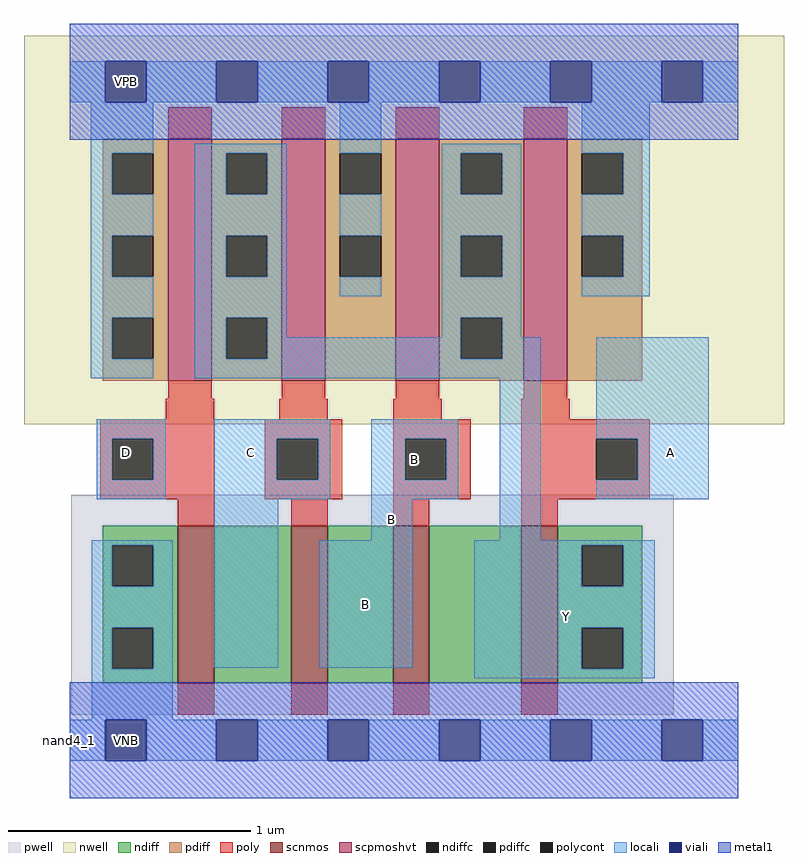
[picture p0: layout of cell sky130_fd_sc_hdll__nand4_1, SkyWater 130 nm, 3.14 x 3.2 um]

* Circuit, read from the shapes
.subckt sky130_fd_sc_hdll__nand4_1 A B C D VGND VNB VPB VPWR Y
XM1 n1 D VGND VNB sky130_fd_pr__nfet_01v8 w=0.65 l=0.15
XM2 n2 C n1 VNB sky130_fd_pr__nfet_01v8 w=0.65 l=0.15
XM3 n3 B n2 VNB sky130_fd_pr__nfet_01v8 w=0.65 l=0.15
XM4 Y A n3 VNB sky130_fd_pr__nfet_01v8 w=0.65 l=0.15
XM5 Y D VPWR VPB sky130_fd_pr__pfet_01v8_hvt w=1 l=0.18
XM6 VPWR C Y VPB sky130_fd_pr__pfet_01v8_hvt w=1 l=0.18
XM7 Y B VPWR VPB sky130_fd_pr__pfet_01v8_hvt w=1 l=0.18
XM8 VPWR A Y VPB sky130_fd_pr__pfet_01v8_hvt w=1 l=0.18
.ends

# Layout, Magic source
magic
tech sky130A
magscale 1 2
<< nwell >>
rect -38 261 590 582
<< pwell >>
rect 1 21 499 203
rect 30 -17 64 21
<< scnmos >>
rect 89 47 119 177
rect 183 47 213 177
rect 267 47 297 177
rect 373 47 403 177
<< scpmoshvt >>
rect 81 297 117 497
rect 175 297 211 497
rect 269 297 305 497
rect 375 297 411 497
<< ndiff >>
rect 27 161 89 177
rect 27 127 35 161
rect 69 127 89 161
rect 27 93 89 127
rect 27 59 35 93
rect 69 59 89 93
rect 27 47 89 59
rect 119 47 183 177
rect 213 47 267 177
rect 297 47 373 177
rect 403 161 473 177
rect 403 127 423 161
rect 457 127 473 161
rect 403 93 473 127
rect 403 59 423 93
rect 457 59 473 93
rect 403 47 473 59
<< pdiff >>
rect 27 485 81 497
rect 27 451 35 485
rect 69 451 81 485
rect 27 417 81 451
rect 27 383 35 417
rect 69 383 81 417
rect 27 349 81 383
rect 27 315 35 349
rect 69 315 81 349
rect 27 297 81 315
rect 117 485 175 497
rect 117 451 129 485
rect 163 451 175 485
rect 117 417 175 451
rect 117 383 129 417
rect 163 383 175 417
rect 117 349 175 383
rect 117 315 129 349
rect 163 315 175 349
rect 117 297 175 315
rect 211 485 269 497
rect 211 451 223 485
rect 257 451 269 485
rect 211 417 269 451
rect 211 383 223 417
rect 257 383 269 417
rect 211 297 269 383
rect 305 485 375 497
rect 305 451 323 485
rect 357 451 375 485
rect 305 417 375 451
rect 305 383 323 417
rect 357 383 375 417
rect 305 349 375 383
rect 305 315 323 349
rect 357 315 375 349
rect 305 297 375 315
rect 411 485 473 497
rect 411 451 423 485
rect 457 451 473 485
rect 411 417 473 451
rect 411 383 423 417
rect 457 383 473 417
rect 411 297 473 383
<< ndiffc >>
rect 35 127 69 161
rect 35 59 69 93
rect 423 127 457 161
rect 423 59 457 93
<< pdiffc >>
rect 35 451 69 485
rect 35 383 69 417
rect 35 315 69 349
rect 129 451 163 485
rect 129 383 163 417
rect 129 315 163 349
rect 223 451 257 485
rect 223 383 257 417
rect 323 451 357 485
rect 323 383 357 417
rect 323 315 357 349
rect 423 451 457 485
rect 423 383 457 417
<< poly >>
rect 81 497 117 523
rect 175 497 211 523
rect 269 497 305 523
rect 375 497 411 523
rect 81 282 117 297
rect 175 282 211 297
rect 269 282 305 297
rect 375 282 411 297
rect 79 265 119 282
rect 173 265 213 282
rect 267 265 307 282
rect 373 265 413 282
rect 25 249 119 265
rect 25 215 35 249
rect 69 215 119 249
rect 25 199 119 215
rect 161 249 225 265
rect 161 215 171 249
rect 205 215 225 249
rect 161 199 225 215
rect 267 249 331 265
rect 267 215 277 249
rect 311 215 331 249
rect 267 199 331 215
rect 373 249 479 265
rect 373 215 435 249
rect 469 215 479 249
rect 373 199 479 215
rect 89 177 119 199
rect 183 177 213 199
rect 267 177 297 199
rect 373 177 403 199
rect 89 21 119 47
rect 183 21 213 47
rect 267 21 297 47
rect 373 21 403 47
<< polycont >>
rect 35 215 69 249
rect 171 215 205 249
rect 277 215 311 249
rect 435 215 469 249
<< locali >>
rect 0 527 29 561
rect 63 527 121 561
rect 155 527 213 561
rect 247 527 305 561
rect 339 527 397 561
rect 431 527 489 561
rect 523 527 552 561
rect 17 485 69 527
rect 17 451 35 485
rect 17 417 69 451
rect 17 383 35 417
rect 17 349 69 383
rect 17 315 35 349
rect 17 299 69 315
rect 103 485 179 493
rect 103 451 129 485
rect 163 451 179 485
rect 103 417 179 451
rect 103 383 129 417
rect 163 383 179 417
rect 103 349 179 383
rect 223 485 257 527
rect 223 417 257 451
rect 223 367 257 383
rect 307 485 373 493
rect 307 451 323 485
rect 357 451 373 485
rect 307 417 373 451
rect 307 383 323 417
rect 357 383 373 417
rect 103 315 129 349
rect 163 333 179 349
rect 307 349 373 383
rect 423 485 479 527
rect 457 451 479 485
rect 423 417 479 451
rect 457 383 479 417
rect 423 367 479 383
rect 307 333 323 349
rect 163 315 323 333
rect 357 333 373 349
rect 357 315 389 333
rect 103 299 389 315
rect 22 249 79 265
rect 22 215 35 249
rect 69 215 79 249
rect 22 199 79 215
rect 119 249 215 265
rect 119 215 171 249
rect 205 215 215 249
rect 119 199 215 215
rect 249 249 321 265
rect 249 215 277 249
rect 311 215 321 249
rect 249 199 321 215
rect 18 161 85 165
rect 18 127 35 161
rect 69 127 85 161
rect 18 93 85 127
rect 18 59 35 93
rect 69 59 85 93
rect 119 60 172 199
rect 249 165 283 199
rect 355 165 389 299
rect 435 249 528 333
rect 469 215 528 249
rect 435 199 528 215
rect 206 60 283 165
rect 334 161 483 165
rect 334 127 423 161
rect 457 127 483 161
rect 334 93 483 127
rect 18 17 85 59
rect 334 59 423 93
rect 457 59 483 93
rect 334 51 483 59
rect 0 -17 29 17
rect 63 -17 121 17
rect 155 -17 213 17
rect 247 -17 305 17
rect 339 -17 397 17
rect 431 -17 489 17
rect 523 -17 552 17
<< viali >>
rect 29 527 63 561
rect 121 527 155 561
rect 213 527 247 561
rect 305 527 339 561
rect 397 527 431 561
rect 489 527 523 561
rect 29 -17 63 17
rect 121 -17 155 17
rect 213 -17 247 17
rect 305 -17 339 17
rect 397 -17 431 17
rect 489 -17 523 17
<< metal1 >>
rect 0 561 552 592
rect 0 527 29 561
rect 63 527 121 561
rect 155 527 213 561
rect 247 527 305 561
rect 339 527 397 561
rect 431 527 489 561
rect 523 527 552 561
rect 0 496 552 527
rect 0 17 552 48
rect 0 -17 29 17
rect 63 -17 121 17
rect 155 -17 213 17
rect 247 -17 305 17
rect 339 -17 397 17
rect 431 -17 489 17
rect 523 -17 552 17
rect 0 -48 552 -17
<< labels >>
flabel locali s 132 221 166 255 0 FreeSans 250 0 0 0 C
port 3 nsew signal input
flabel locali s 249 199 321 265 0 FreeSans 250 0 0 0 B
port 2 nsew signal input
flabel locali s 393 85 427 119 0 FreeSans 250 0 0 0 Y
port 9 nsew signal output
flabel locali s 30 221 64 255 0 FreeSans 250 0 0 0 D
port 4 nsew signal input
flabel locali s 479 221 513 255 0 FreeSans 250 0 0 0 A
port 1 nsew signal input
flabel nwell s 30 527 64 561 0 FreeSans 200 0 0 0 VPB
port 7 nsew power bidirectional
flabel pwell s 30 -17 64 17 0 FreeSans 200 0 0 0 VNB
port 6 nsew ground bidirectional
flabel metal1 s 30 527 64 561 0 FreeSans 200 0 0 0 VPWR
port 8 nsew power bidirectional
flabel metal1 s 30 -17 64 17 0 FreeSans 200 0 0 0 VGND
port 5 nsew ground bidirectional
rlabel comment s 0 0 0 0 4 nand4_1
rlabel locali s 249 165 283 199 1 B
port 2 nsew signal input
rlabel locali s 206 60 283 165 1 B
port 2 nsew signal input
<< properties >>
string LEFsite unithd
string LEFclass CORE
string FIXED_BBOX 0 0 552 544
string GDS_FILE $PDKPATH/libs.ref/sky130_fd_sc_hdll/gds/sky130_fd_sc_hdll.gds
string LEFsymmetry X Y R90
string GDS_END 2254208
string GDS_START 2248716
string LEFproperties maskLayoutSubType "abstract" prCellType "standard" originalViewName "layout"
<< end >>
